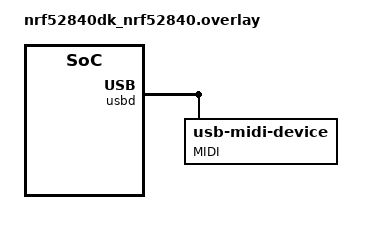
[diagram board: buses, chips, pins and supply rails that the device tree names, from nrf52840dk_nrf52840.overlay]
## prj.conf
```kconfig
# Enable DK LED and Buttons library
CONFIG_DK_LIBRARY=y
CONFIG_GPIO=y

# Config logger
CONFIG_LOG=y
CONFIG_USE_SEGGER_RTT=y
CONFIG_LOG_BACKEND_RTT=y
CONFIG_LOG_BACKEND_UART=n


CONFIG_USB_DRIVER_LOG_LEVEL_DBG=y
CONFIG_USB_DEVICE_LOG_LEVEL_DBG=y

CONFIG_ASSERT=y

#USB related configs
# CONFIG_USB_DEVICE_DRIVER=y
CONFIG_USB_DEVICE_STACK=y
CONFIG_USB_DEVICE_PRODUCT="Zephyr USB MIDI sample"

#net buf options
CONFIG_NET_BUF=y
CONFIG_NET_BUF_USER_DATA_SIZE=0

CONFIG_USB_DEVICE_MIDI=y

CONFIG_HEAP_MEM_POOL_SIZE=512

CONFIG_MIDI=y
```

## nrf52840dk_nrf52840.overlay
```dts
/*
 * Copyright (c) 2019 Nordic Semiconductor ASA
 *
 * SPDX-License-Identifier: Apache-2.0
 */

&usbd {
	midi_device {
		compatible = "usb-midi-device";
		label = "MIDI";

		midi_interface_1 {
			compatible = "usb-midi-interface";
			index = <1>;
			setting_0 {
				compatible = "usb-midi-setting";
				revision = "MIDI 1.0";
				index = <0>;

				jack_1: jack_1 {
					label = "MIDI_OUT_Embedded";
					compatible = "usb-midi-in-jack";
					type = "EMBEDDED";
					id = <1>;
				};
		
				jack_2: jack_2 {
					label = "MIDI_OUT";
					compatible = "usb-midi-in-jack";
					type = "EXTERNAL";
					id = <2>;
				};
		
				jack_3: jack_3 {
					label = "MIDI_IN_Embedded";
					compatible = "usb-midi-out-jack";
					type = "EMBEDDED";
					sources-pins = [01];
					sources = <&jack_2>;
					id = <3>;
				};
		
				jack_4: jack_4 {
					label = "MIDI_IN";
					compatible = "usb-midi-out-jack";
					type = "EXTERNAL";
					sources = <&jack_1>;
					sources-pins = [01];
					id = <4>;
				};
		
				ep_out_1: endpoint_out_1 {
					compatible = "usb-midi-endpoint";
					direction = "OUT";
					type = "BULK";
					ep-num = <1>;
					assoc-entities = <&jack_1>;
					
				};
		
				ep_in_1: endpoint_in_1 {
					compatible = "usb-midi-endpoint";
					direction = "IN";
					type = "BULK";
					ep-num = <1>;
					assoc-entities = <&jack_3>;
				};
			};
			
			setting_1 {
				compatible = "usb-midi-setting";
				revision = "MIDI 2.0";
				index = <1>;

				ep_out_2: endpoint_out_2 {
					compatible = "usb-midi-endpoint";
					direction = "OUT";
					type = "BULK";
					ep-num = <5>;
					assoc-entities = <&gt_1>;
					
				};
		
				ep_in_2: endpoint_in_2 {
					compatible = "usb-midi-endpoint";
					direction = "IN";
					type = "INTERRUPT";
					ep-num = <5>;
					assoc-entities = <&gt_1>;
					interval = <1>;
				};
		
				gt_1: gt_1 {
					compatible = "usb-midi-group-terminal-block";
					id = <1>;
					type = "IN-OUT";
					group-terminal = <0>;
					num-group-terminals = <1>;
					protocol = "UNKNOWN";
					in-bandwidth = <1>;
				};
			};
		};
	};
};
```

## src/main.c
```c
#include <zephyr/types.h>
#include <zephyr.h>
#include <device.h>
#include <soc.h>

#include <dk_buttons_and_leds.h>
#include <usb/usb_device.h>
#include <usb/class/usb_midi.h>
#include <midi/midi.h>

#include <logging/log.h>

#define LOG_MODULE_NAME USB_midi
LOG_MODULE_REGISTER(LOG_MODULE_NAME);

#define RUN_STATUS_LED DK_LED1
#define RUN_LED_BLINK_INTERVAL 1000

const struct device *midi_out_dev;

static int midi_sent(const struct device *dev,
			  midi_msg_t *msg,
			  void *user_data)
{

	if (!msg) {
		/* This should never happen */
		return -EINVAL;
	}

	LOG_INF("MIDI sent!");

	midi_msg_unref(msg);

	return 0;
}

static int midi_received(const struct device *dev,
			  midi_msg_t *msg,
			  void *user_data)
{

	if (!msg) {
		/* This should never happen */
		return -EINVAL;
	}
	LOG_HEXDUMP_INF(msg->data, msg->len, "main:");

	midi_send(midi_out_dev, msg);
	return 0;
}

static const struct usb_midi_ops ops = {
};

void main(void)
{
	int blink_status = 0;
	int err;
	const struct device *usb_midi_dev;
	const struct device *midi_in_dev;

	// LOG_INF("Entered %s", __func__);
	usb_midi_dev = device_get_binding("MIDI");

	if (!usb_midi_dev) {
		LOG_ERR("Can not get USB MIDI Device");
		return;
	}

	midi_in_dev = device_get_binding("MIDI_IN");
	if (!midi_in_dev) {
		LOG_ERR("Can not get MIDI IN PORT Device");
		return;
	}

	err = midi_callback_set(midi_in_dev, midi_received, NULL);
	if (err != 0) {
		LOG_ERR("Can not set MIDI IN callbacks");
	}

	midi_out_dev = device_get_binding("MIDI_OUT");
	if (!midi_out_dev) {
		LOG_ERR("Can not get MIDI OUT PORT Device");
		return;
	}

	err = midi_callback_set(midi_out_dev, midi_sent, NULL);
	if (err != 0) {
		LOG_ERR("Can not set MIDI IN callbacks");
	}

	// LOG_INF("Found USB MIDI Device");

	usb_midi_register(usb_midi_dev, &ops);
	
	err = usb_enable(NULL);
	if (err != 0) {
		LOG_ERR("Failed to enable USB");
		return;
	}

	// LOG_INF("USB enabled");

	err = dk_leds_init();
	if (err) {
		LOG_ERR("Cannot init LEDs (err: %d)", err);
	}

	test_func();

	for (;;) {
		dk_set_led(RUN_STATUS_LED, (++blink_status) % 2);
		k_sleep(K_MSEC(RUN_LED_BLINK_INTERVAL));
	}
}
```
